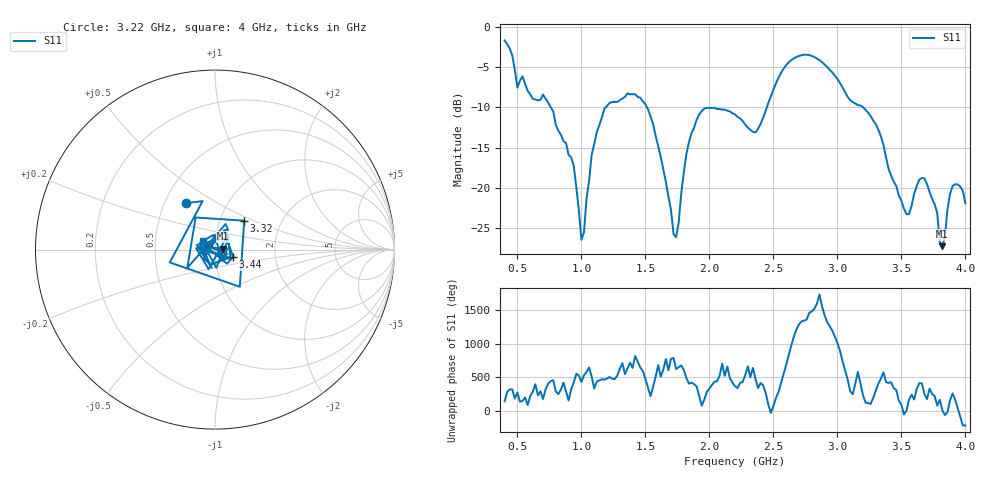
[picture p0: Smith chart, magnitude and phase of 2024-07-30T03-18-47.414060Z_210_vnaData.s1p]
!Created with skrf (http://scikit-rf.org).
# Hz S RI R 50.0
!freq ReS11 ImS11
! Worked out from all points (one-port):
!   181 points, 400 MHz to 4 GHz, reference 50 ohm
!   lowest |S11| = -27.2 dB at 3.82 GHz (marker M1), VSWR 1.09, Z = 54.5 + j0.664 ohm
!   |S11| at or under -10 dB: 761.2 MHz to 1.19 GHz (428.5 MHz wide, 43.9 % of centre); 1.512 GHz to 2.449 GHz (936.4 MHz wide, 47.3 % of centre); 3.202 GHz to end of sweep
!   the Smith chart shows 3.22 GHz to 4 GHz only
!   S11 on the Smith chart (normalised r, x): 3.22 GHz: 0.64, +0.36; 3.32 GHz: 1.30, +0.44; 3.44 GHz: 1.22, -0.10; 4 GHz: 0.87, +0.08
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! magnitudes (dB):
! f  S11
! 400 MHz  -1.7
! 500 MHz  -7.5
! 700 MHz  -8.4
! 860 MHz  -14.2
! 940 MHz  -17.2
! 1 GHz  -26.4
! 1.12 GHz  -13.1
! 1.3 GHz  -9.1
! 1.52 GHz  -10.2
! 1.66 GHz  -19.3
! 1.72 GHz  -25.7
! 1.76 GHz  -24.3
! 1.82 GHz  -15.8
! 1.92 GHz  -10.9
! 2.2 GHz  -10.9
! 2.36 GHz  -13.1
! 2.66 GHz  -3.9
! 2.86 GHz  -4.1
! 3.1 GHz  -9.1
! 3.22 GHz  -10.3
! 3.32 GHz  -12.8
! 3.44 GHz  -19.2
! 3.56 GHz  -23.2
! 3.68 GHz  -18.8
! 3.78 GHz  -23.1
! 3.82 GHz  -27.2
! 3.9 GHz  -19.8
! 4 GHz  -21.9
